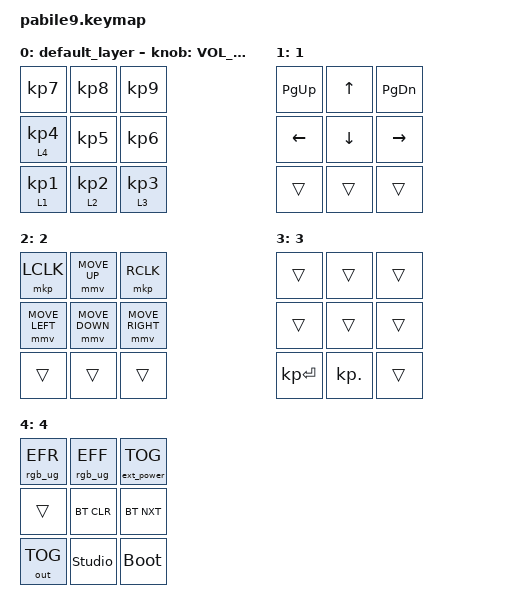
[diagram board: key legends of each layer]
/*
 * Copyright (c) 2025 The ZMK Contributors
 *
 * SPDX-License-Identifier: MIT
 */

#include <behaviors.dtsi>
#include <dt-bindings/zmk/keys.h>
#include <dt-bindings/zmk/bt.h>
#include <dt-bindings/zmk/outputs.h>
#include <dt-bindings/zmk/rgb.h>
#include <dt-bindings/zmk/ext_power.h>
#include <dt-bindings/zmk/pointing.h>

/ {
	keymap {
		compatible = "zmk,keymap";

		default_layer {
			// ----------------------
			// |  O   |  O   |  O   |
			// ----------------------
			// |  7   |  8   |  9   |
			// |  4   |  5   |  6   |
			// |  1   |  2   |  3   |

            sensor-bindings = <&inc_dec_kp C_VOL_UP C_VOL_DN &inc_dec_kp C_VOL_UP C_VOL_DN &inc_dec_kp C_VOL_UP C_VOL_DN>;

			bindings = <
				&kp KP_N7     &kp KP_N8    &kp KP_N9
				&lt 4 KP_N4   &kp KP_N5    &kp KP_N6
				&lt 1 KP_N1   &lt 2 KP_N2  &lt 3 KP_N3
			>;
		};
		1 {
			bindings = <
                &kp PAGE_UP &kp UP    &kp PAGE_DOWN
                &kp LEFT    &kp DOWN  &kp RIGHT
                &trans      &trans    &trans
			>;
		};
		2 {
			bindings = <
                &mkp LCLK      &mmv MOVE_UP   &mkp RCLK
                &mmv MOVE_LEFT &mmv MOVE_DOWN &mmv MOVE_RIGHT
                &trans         &trans         &trans
			>;
		};
		3 {
			bindings = <
                &trans   &trans    &trans
                &trans   &trans    &trans
                &kp KP_ENTER   &kp KP_DOT    &trans
			>;
		};
		4 {
			bindings = <
				&rgb_ug RGB_EFR  &rgb_ug RGB_EFF  &ext_power EP_TOG
				&trans           &bt BT_CLR       &bt BT_NXT
				&out OUT_TOG     &studio_unlock   &bootloader
			>;
		};
	};
};

